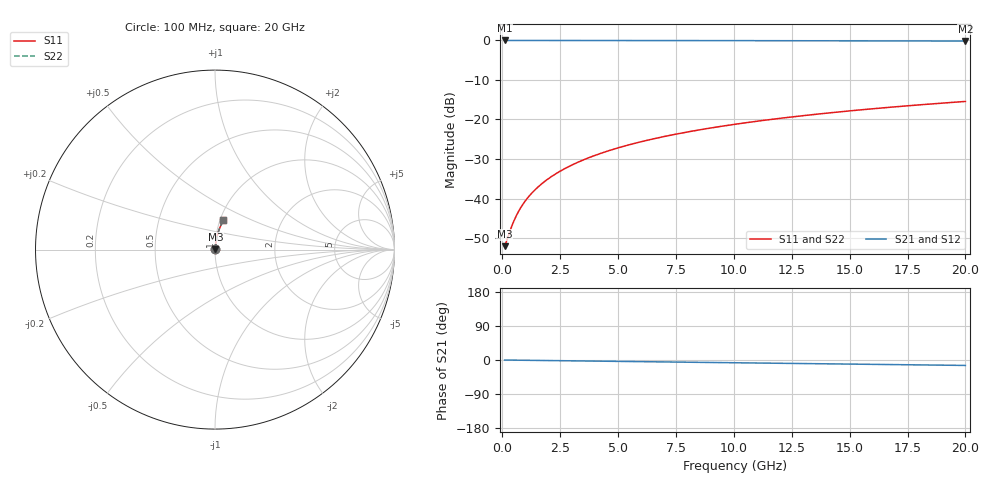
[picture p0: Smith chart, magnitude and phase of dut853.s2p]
! Touchstone file exported from HFSS 2026.1.0
!  File:  C:/ffzhzh/LocalFiles/Ansys_Project_Files/temp_train_BSMRDL_853_1783170580_55132.aedt
!  Generated:  09:10:52 PM Jul  4, 2026
!  Design:  BSMRDL
!  Project:  temp_train_BSMRDL_853_1783170580_55132
! Variables:
!  h_bsmrdl = 2.02um
!  h_ox = 20um
!  h_rdl = 5um
!  h_sub = 80um
!  h_tmrdl = 5um
!  h_tsv = 80um
!  h_via = 3um
!  l_bsmrdl = 157.7um
!  l_sub = 557.7um
!  l_tmrdl = 200um
!  m_sub = 200um
!  pitch = 37.84um
!  r_tsv = 6um
!  s_tmrdl = 10um
!  w_bsmrdl = 13.99um
!  w_sub = 500um
!  w_tmrdl = 12um
!  x_tsv_center1 = 206um
!  x_tsv_center2 = 377.69um
!  x_tsv_center3 = 589.69um
!  x_tsv_center4 = 761.38um
!  x_tsv_center5 = 973.38um
!  x_tsv_center6 = 1145.07um
# GHz S MA R 50.000000
! Terminal data exported
! Port[1] = BSM_RDL1_1_T1
! Port[2] = BSM_RDL1_1_T2
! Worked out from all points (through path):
!   200 points, 100 MHz to 20 GHz, reference 50 ohm
!   highest |S21| = -0.02 dB at 100 MHz (marker M1); lowest = -0.2 dB at 20 GHz (marker M2)
!   group delay of S21, straight-line fit = 1.99 ps
!   lowest |S11| = -52.0 dB at 100 MHz (marker M3), VSWR 1.01, Z = 50.2 + j0.0932 ohm
!   |S11| at or under -10 dB: start of sweep to end of sweep
!   |S22| runs from -52.0 to -15.4 dB; largest |S21 - S12| = 2e-15
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0.1  0.002501 21.8  0.9977 -0.1  0.9977 -0.1  0.002501 21.8
! Gamma 0 0 0 0
! Port Impedance 50 0 50 0
0.2  0.002986 38.3  0.9977 -0.2  0.9977 -0.2  0.002986 38.3
0.4  0.004402 56.7  0.9976 -0.3  0.9976 -0.3  0.004402 56.7
0.6  0.006026 65.3  0.9975 -0.5  0.9975 -0.5  0.006026 65.3
0.7  0.006862 68.0  0.9975 -0.5  0.9975 -0.5  0.006862 68.0
0.9  0.008549 71.8  0.9974 -0.7  0.9974 -0.7  0.008549 71.8
1.2  0.01109 75.2  0.9973 -0.9  0.9973 -0.9  0.01109 75.2
1.4  0.01279 76.7  0.9972 -1.0  0.9972 -1.0  0.01279 76.7
1.7  0.01535 78.3  0.9971 -1.3  0.9971 -1.3  0.01535 78.3
2.2  0.01962 80.0  0.997 -1.6  0.997 -1.6  0.01962 80.0
2.8  0.02478 81.2  0.9968 -2.1  0.9968 -2.1  0.02478 81.2
3.5  0.03081 81.9  0.9966 -2.6  0.9966 -2.6  0.03081 81.9
4.2  0.03684 82.2  0.9963 -3.1  0.9963 -3.1  0.03684 82.2
5  0.04374 82.3  0.9959 -3.6  0.9959 -3.6  0.04374 82.3
5.9  0.0515 82.1  0.9955 -4.3  0.9955 -4.3  0.0515 82.2
6.8  0.05923 81.9  0.995 -5.0  0.995 -5.0  0.05923 81.9
8.3  0.07208 81.2  0.994 -6.0  0.994 -6.0  0.07208 81.2
10.1  0.0874 80.3  0.9925 -7.3  0.9925 -7.3  0.0874 80.3
11.7  0.1009 79.3  0.991 -8.5  0.991 -8.5  0.1009 79.3
13.4  0.1151 78.3  0.9892 -9.7  0.9892 -9.7  0.1151 78.3
16.7  0.1424 76.1  0.9852 -12.0  0.9852 -12.0  0.1424 76.1
20  0.169 73.9  0.9805 -14.3  0.9805 -14.3  0.169 73.9
